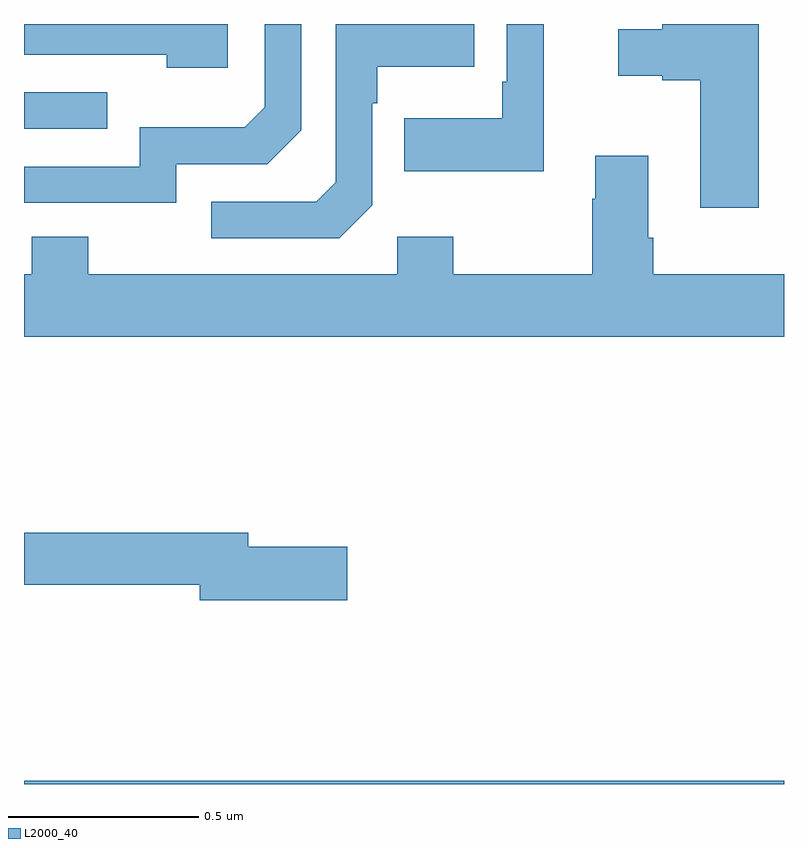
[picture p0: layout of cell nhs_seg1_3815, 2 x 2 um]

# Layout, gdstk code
import gdstk
lib = gdstk.Library(unit=1e-6, precision=1e-09)
def R(c, l, rs):  # rectangles x0, y0, x1, y1
    for r in rs: c.add(gdstk.rectangle(r[:2], r[2:], *l))
def P(c, l, *ps):  # polygons
    for p in ps: c.add(gdstk.Polygon(p, *l))
L2000_40 = (2000, 40)

nhs_seg1_3815 = lib.new_cell('nhs_seg1_3815')
R(nhs_seg1_3815, L2000_40, [(158,573.199,160,573.208), (158,574.923,158.219,575.019)])
P(nhs_seg1_3815, L2000_40, [(159.934,575.199),(159.779,575.199),(159.779,575.198),(159.68,575.198),(159.68,575.185),(159.564,575.185),(159.564,575.063),(159.68,575.063),(159.68,575.051),(159.779,575.051),(159.779,574.716),(159.934,574.716)],
  [(158.536,575.199),(158,575.199),(158,575.118),(158.375,575.118),(158.375,575.084),(158.536,575.084)],
  [(159.368,575.199),(159.27,575.199),(159.27,575.047),(159.258,575.047),(159.258,574.951),(159.001,574.951),(159.001,574.811),(159.368,574.811)],
  [(158.916,574.722),(158.916,574.991),(158.929,574.991),(158.929,575.087),(159.185,575.087),(159.185,575.199),(158.82,575.199),(158.82,574.782),(158.769,574.731),(158.493,574.731),(158.493,574.635),(158.829,574.635)],
  [(158.4,574.83),(158.64,574.83),(158.73,574.92),(158.73,575.199),(158.634,575.199),(158.634,574.98),(158.581,574.927),(158.304,574.927),(158.304,574.824),(158,574.824),(158,574.728),(158.4,574.728)],
  [(160,574.54),(159.656,574.54),(159.656,574.636),(159.643,574.636),(159.643,574.852),(159.503,574.852),(159.503,574.739),(159.496,574.739),(159.496,574.54),(159.129,574.54),(159.129,574.639),(158.982,574.639),(158.982,574.54),(158.169,574.54),(158.169,574.639),(158.021,574.639),(158.021,574.54),(158,574.54),(158,574.376),(160,574.376)],
  [(158.851,573.824),(158.59,573.824),(158.59,573.86),(158,573.86),(158,573.724),(158.462,573.724),(158.462,573.682),(158.851,573.682)])

lib.write_gds('nhs_seg1_3815.gds')
